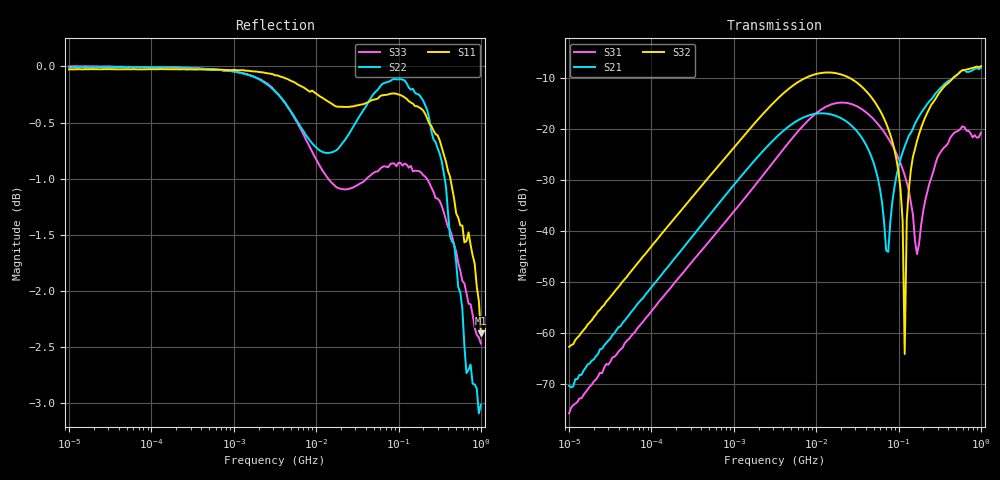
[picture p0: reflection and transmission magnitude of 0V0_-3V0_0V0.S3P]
!Keysight Technologies,E5080A,MY55100144,A.11.70.03
!Date: Monday, November 13, 2017 17:22:54
!Correction: S11(Full 3 Port(1,2,3))
!S12(Full 3 Port(1,2,3))
!S13(Full 3 Port(1,2,3))
!S21(Full 3 Port(1,2,3))
!S22(Full 3 Port(1,2,3))
!S23(Full 3 Port(1,2,3))
!S31(Full 3 Port(1,2,3))
!S32(Full 3 Port(1,2,3))
!S33(Full 3 Port(1,2,3))
!S3P File: Measurements: <S11,S12,S13>,
!<S21,S22,S23>,
!<S31,S32,S33>:Log Frequency Sweep
# Hz S  RI  R 50
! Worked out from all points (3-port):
!   201 points, 10 kHz to 1 GHz, reference 50 ohm
!   strongest paths, dB at 10 kHz, 177.8 kHz, 3.162 MHz, 56.23 MHz, 1 GHz:
!     S32: -62.8, -38.1, -14.6, -15.7, -7.7
!     S21: -70.4, -46.0, -21.9, -29.8, -8.0
!     S31: -75.8, -50.8, -26.1, -19.0, -20.7
!   lowest |S11| = -2.4 dB at 1 GHz (marker M1), VSWR 7.36, Z = 368 + j11.4 ohm
!   |S11| at or under -10 dB: nowhere
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10000  0.9969 -0.00133  1.22e-06 0.000281  1.11e-06 0.000163
       1.57e-05 0.000301  0.9989 -0.00365  3.74e-05 0.000694
       -2.2e-05 0.00016  -1.71e-05 0.000727  0.9999 -0.00246
3162278  0.8881 -0.4391  0.0443 0.0675  0.0116 0.0483
         0.0443 0.0674  0.6601 -0.7174  0.0998 0.1583
         0.0116 0.0483  0.1 0.1583  0.9348 -0.2763
6.309573e7  -0.9407 -0.2397  0.00973 -0.0161  0.0438 -0.0893
            0.00968 -0.0162  -0.982 0.0103  0.0431 -0.1325
            0.0437 -0.0895  0.0429 -0.1324  -0.7209 -0.5419
7.498942e7  -0.9616 -0.1388  0.00464 0.00422  0.0253 -0.0769
            0.0046 0.0042  -0.9782 0.1082  0.019 -0.0987
            0.0252 -0.0768  0.019 -0.0985  -0.7946 -0.4263
1.059254e8  -0.9691 0.0594  0.0108 0.0497  0.00357 -0.0457
            0.0108 0.0498  -0.9359 0.3135  -0.00127 -0.0251
            0.00365 -0.0457  -0.00123 -0.0251  -0.8869 -0.1837
1.188502e8  -0.9601 0.1279  0.0184 0.0649  0.00092 -0.0351
            0.0185 0.0649  -0.9064 0.387  0.000534 0.000317
            0.000891 -0.0351  0.000531 0.000315  -0.8993 -0.1024
1.258925e8  -0.9533 0.1631  0.0235 0.0725  5.56e-06 -0.0299
            0.0235 0.0725  -0.8863 0.4241  0.00331 0.0126
            1.7e-05 -0.0299  0.00331 0.0126  -0.9021 -0.0599
1.678804e8  -0.8982 0.3388  0.0596 0.1072  0.00466 -0.0037
            0.0598 0.1073  -0.762 0.6036  0.0342 0.0686
            0.00464 -0.00365  0.0341 0.0686  -0.8866 0.145
5.308844e8  0.00667 0.8563  0.3256 -0.1269  0.0707 -0.065
            0.3256 -0.1271  0.5022 0.6193  0.3335 -0.1003
            0.0708 -0.065  0.3334 -0.1001  -0.1356 0.8064
1e9  0.7607 0.00653  -0.0931 -0.3862  -0.0562 -0.0727
     -0.0937 -0.3863  0.5908 -0.3881  -0.0451 -0.4112
     -0.0562 -0.0727  -0.0446 -0.4113  0.6859 0.3101
